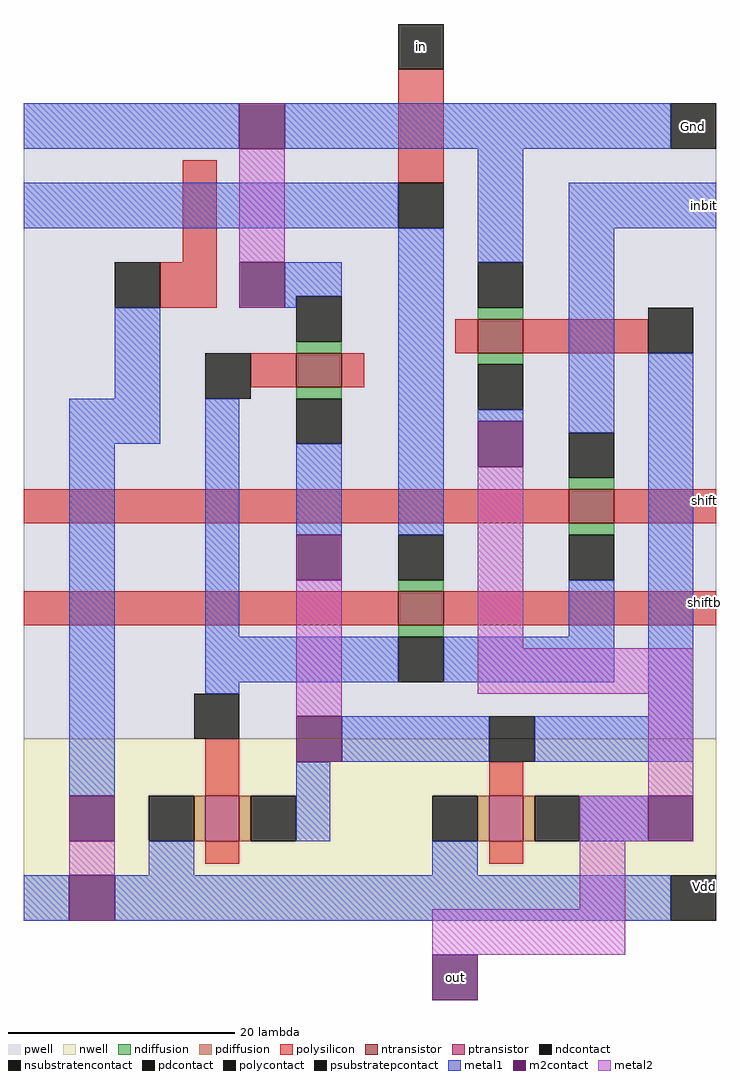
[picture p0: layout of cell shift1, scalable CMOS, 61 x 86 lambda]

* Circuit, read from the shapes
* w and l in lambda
.subckt shift1 Gnd Vdd in inbit out shift shiftb
M1 Gnd n1 n2 Gnd nfet w=4 l=3
M2 in shiftb n1 Gnd nfet w=4 l=3
M3 Gnd n2 out Gnd nfet w=4 l=3
M4 inbit shift n1 Gnd nfet w=4 l=3
M5 n2 n1 Vdd Vdd pfet w=4 l=3
M6 out n2 Vdd Vdd pfet w=4 l=3
.ends

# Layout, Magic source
magic
tech scmos
<< pwell >>
rect -36 -6 25 50
<< nwell >>
rect -36 -22 25 -6
<< polysilicon >>
rect -22 36 -19 45
rect -3 43 1 53
rect -24 32 -19 36
rect 2 28 4 31
rect 8 28 19 31
rect -16 25 -12 28
rect -8 25 -6 28
rect -36 13 12 16
rect 16 13 25 16
rect -36 4 -3 7
rect 1 4 25 7
rect -20 -11 -17 -6
rect 5 -11 8 -8
rect -20 -17 -17 -15
rect 5 -17 8 -15
<< ndiffusion >>
rect 4 31 8 32
rect -12 28 -8 29
rect 4 27 8 28
rect -12 24 -8 25
rect 12 16 16 17
rect 12 12 16 13
rect -3 7 1 8
rect -3 3 1 4
<< pdiffusion >>
rect -21 -15 -20 -11
rect -17 -15 -16 -11
rect 4 -15 5 -11
rect 8 -15 9 -11
<< metal1 >>
rect -36 46 -17 50
rect -13 46 21 50
rect -36 39 -3 43
rect -13 33 -8 36
rect -13 32 -12 33
rect -28 24 -24 32
rect -32 20 -24 24
rect -32 -11 -28 20
rect -20 3 -17 24
rect -12 12 -8 20
rect -3 12 1 39
rect 4 36 8 46
rect 12 39 25 43
rect 4 22 8 23
rect 12 21 16 39
rect 12 3 16 8
rect -20 -1 -3 3
rect 1 -1 16 3
rect -20 -2 -17 -1
rect 19 -4 23 28
rect -8 -8 5 -4
rect 9 -8 23 -4
rect -12 -15 -9 -8
rect 13 -15 19 -11
rect -25 -18 -21 -15
rect 0 -18 4 -15
rect -36 -22 -32 -18
rect -28 -22 21 -18
<< metal2 >>
rect -17 36 -13 46
rect -12 -4 -8 8
rect 4 2 8 18
rect 4 -2 23 2
rect 19 -11 23 -2
rect -32 -18 -28 -15
rect 13 -15 19 -11
rect 13 -21 17 -15
rect 0 -25 17 -21
<< ntransistor >>
rect 4 28 8 31
rect -12 25 -8 28
rect 12 13 16 16
rect -3 4 1 7
<< ptransistor >>
rect -20 -15 -17 -11
rect 5 -15 8 -11
<< polycontact >>
rect -3 53 1 57
rect -3 39 1 43
rect -28 32 -24 36
rect 19 28 23 32
rect -20 24 -16 28
rect -21 -6 -17 -2
rect 5 -8 9 -4
<< ndcontact >>
rect -12 29 -8 33
rect 4 32 8 36
rect -12 20 -8 24
rect 4 23 8 27
rect 12 17 16 21
rect -3 8 1 12
rect 12 8 16 12
rect -3 -1 1 3
<< pdcontact >>
rect -25 -15 -21 -11
rect -16 -15 -12 -11
rect 0 -15 4 -11
rect 9 -15 13 -11
<< m2contact >>
rect -17 46 -13 50
rect -17 32 -13 36
rect -12 8 -8 12
rect 4 18 8 22
rect -12 -8 -8 -4
rect -32 -15 -28 -11
rect 19 -15 23 -11
rect -32 -22 -28 -18
rect 0 -29 4 -25
<< psubstratepcontact >>
rect 21 46 25 50
<< nsubstratencontact >>
rect 21 -22 25 -18
<< labels >>
rlabel polysilicon 24 6 24 6 7 shiftb
rlabel polysilicon 24 15 24 15 7 shift
rlabel nsubstratencontact 24 -19 24 -19 8 Vdd
rlabel m2contact 2 -27 2 -27 1 out
rlabel psubstratepcontact 23 48 23 48 7 Gnd
rlabel metal1 24 41 24 41 7 inbit
rlabel polycontact -1 55 -1 55 5 in
<< end >>
